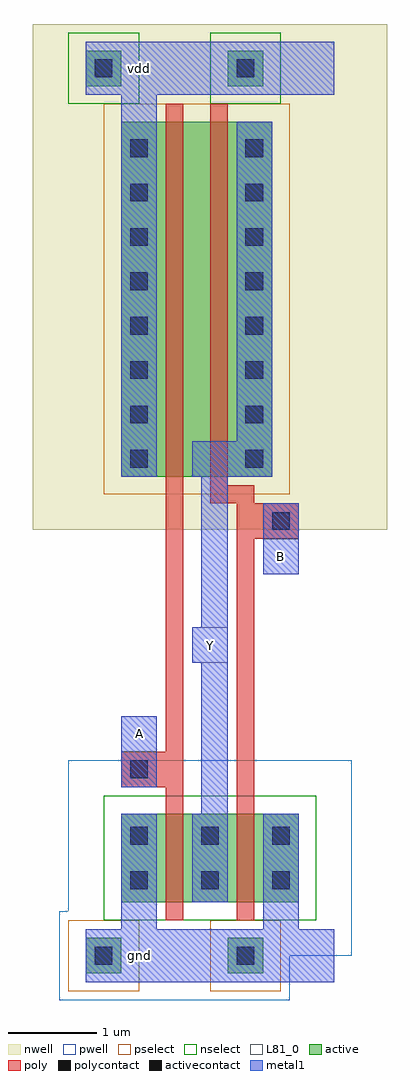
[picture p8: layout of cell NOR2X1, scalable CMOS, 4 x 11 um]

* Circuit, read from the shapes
.subckt NOR2X1 A B Y gnd vdd
M1 Y A gnd gnd nfet w=1u l=0.2u
M2 gnd B Y gnd nfet w=1u l=0.2u
M3 n1 A vdd vdd pfet w=4u l=0.2u
M4 Y B n1 vdd pfet w=4u l=0.2u
.ends

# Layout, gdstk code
import gdstk
lib = gdstk.Library(unit=1e-6, precision=1e-09)
def R(c, l, rs):  # rectangles x0, y0, x1, y1
    for r in rs: c.add(gdstk.rectangle(r[:2], r[2:], *l))
def A(c, l, x, y, w, h, nx, ny, dx, dy):  # array of equal rectangles
    R(c, l, [(x+i*dx, y+j*dy, x+i*dx+w, y+j*dy+h) for i in range(nx) for j in range(ny)])
pwell = (41, 0)
nwell = (42, 0)
active = (43, 0)
pselect = (44, 0)
nselect = (45, 0)
poly = (46, 0)
polycontact = (47, 0)
activecontact = (48, 0)
metal1 = (49, 0)
L81_0 = (81, 0)

nor2x1 = lib.new_cell('NOR2X1')
R(nor2x1, pwell, [(-0.5,-0.5,2.1,0), (-0.5,0,2.8,0.5), (-0.4,0.5,2.8,2.2)])
R(nor2x1, nwell, [(-0.8,4.8,3.2,10.5)])
R(nor2x1, active, [(-0.2,-0.2,0.2,0.2), (1.4,-0.2,1.8,0.2), (0.2,0.6,2.2,1.6), (0.2,5.4,1.9,9.4), (-0.2,9.8,0.2,10.2), (1.4,9.8,1.8,10.2)])
R(nor2x1, pselect, [(-0.4,-0.4,0.4,0.4), (1.2,-0.4,2,0.4), (0,5.2,2.1,9.6)])
R(nor2x1, nselect, [(0,0.4,2.4,1.8), (-0.4,9.6,0.4,10.4), (1.2,9.6,2,10.4)])
R(nor2x1, poly, [(0.7,0.4,0.9,1.9), (1.5,0.4,1.7,4.7), (0.2,1.9,0.9,2.3), (0.7,2.3,0.9,9.6), (1.5,4.7,2.2,5.1), (1.2,5.1,1.7,5.3), (1.2,5.3,1.4,9.6)])
R(nor2x1, polycontact, [(0.3,2,0.5,2.2), (1.9,4.8,2.1,5)])
A(nor2x1, activecontact, 0.3, 0.75, 0.2, 0.2, 3, 2, 0.8, 0.5)
A(nor2x1, activecontact, 0.3, 5.5, 0.2, 0.2, 1, 8, 0, 0.5)
A(nor2x1, activecontact, 1.6, 5.5, 0.2, 0.2, 1, 8, 0, 0.5)
R(nor2x1, activecontact, [(-0.1,-0.1,0.1,0.1), (1.5,-0.1,1.7,0.1), (-0.1,9.9,0.1,10.1), (1.5,9.9,1.7,10.1)])
R(nor2x1, metal1, [(-0.2,-0.3,2.6,0.3), (0.2,0.3,0.6,1.6), (1.8,0.3,2.2,1.6), (1,0.6,1.4,1.6), (1.1,1.6,1.4,3.3), (0.2,1.9,0.6,2.7), (1,3.3,1.4,3.7), (1.1,3.7,1.4,5.4), (1.8,4.3,2.2,5.1), (0.2,5.4,0.6,9.7), (1,5.4,1.9,5.8), (1.5,5.8,1.9,9.4), (-0.2,9.7,2.6,10.3)])
R(nor2x1, L81_0, [(0.2,2.3,0.6,2.7), (1,3.3,1.4,3.7), (1.8,4.3,2.2,4.7)])
nor2x1.add(gdstk.Label('vdd', (0.4,10), layer=49, texttype=0))
nor2x1.add(gdstk.Label('B', (2,4.5), layer=49, texttype=0))
nor2x1.add(gdstk.Label('gnd', (0.4,0), layer=49, texttype=0))
nor2x1.add(gdstk.Label('Y', (1.2,3.5), layer=49, texttype=0))
nor2x1.add(gdstk.Label('A', (0.4,2.5), layer=49, texttype=0))

lib.write_gds('NOR2X1.gds')
